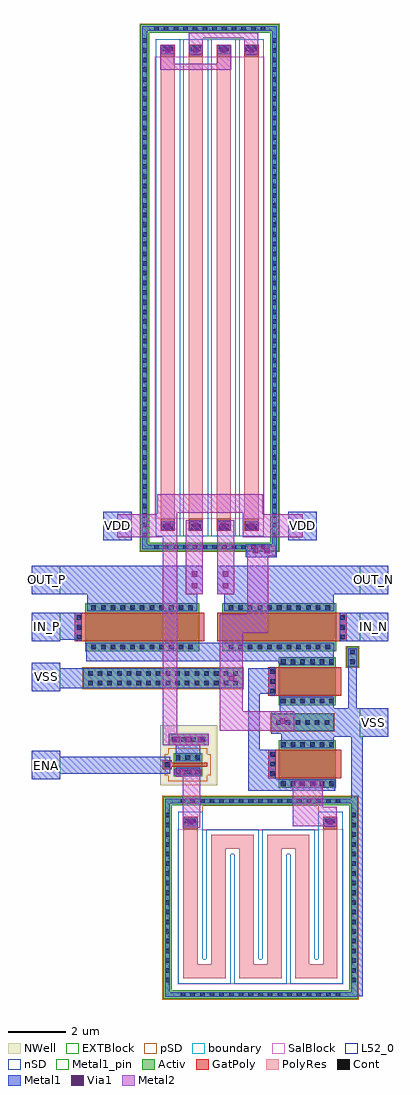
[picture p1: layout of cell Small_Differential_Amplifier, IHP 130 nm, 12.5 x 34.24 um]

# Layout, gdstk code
from math import pi, radians
import gdstk
lib = gdstk.Library(unit=1e-6, precision=1e-09)
def R(c, l, rs):  # rectangles x0, y0, x1, y1
    for r in rs: c.add(gdstk.rectangle(r[:2], r[2:], *l))
def A(c, l, x, y, w, h, nx, ny, dx, dy):  # array of equal rectangles
    R(c, l, [(x+i*dx, y+j*dy, x+i*dx+w, y+j*dy+h) for i in range(nx) for j in range(ny)])
Activ = (1, 0)
GatPoly = (5, 0)
Cont = (6, 0)
nSD = (7, 0)
Metal1 = (8, 0)
Metal1_pin = (8, 2)
Metal2 = (10, 0)
pSD = (14, 0)
Via1 = (19, 0)
SalBlock = (28, 0)
NWell = (31, 0)
L52_0 = (52, 0)
EXTBlock = (111, 0)
PolyRes = (128, 0)
boundary = (189, 4)

rhigh_yxurbg = lib.new_cell('rhigh_YXURBG')
R(rhigh_yxurbg, Activ, [(-3.41,-3.545,3.41,-3.245), (-3.41,-3.245,-3.11,3.245), (3.11,-3.245,3.41,3.245), (-3.41,3.245,3.41,3.545)])
R(rhigh_yxurbg, GatPoly, [(-2.7,-2.835,-2.2,-2.405), (2.2,-2.835,2.7,-2.405)])
A(rhigh_yxurbg, Cont, -2.8, -3.475, 0.16, 0.16, 17, 2, 0.34, 6.79)
A(rhigh_yxurbg, Cont, -3.34, -2.97, 0.16, 0.16, 1, 18, 0, 0.34)
A(rhigh_yxurbg, Cont, 3.18, -2.97, 0.16, 0.16, 1, 18, 0, 0.34)
R(rhigh_yxurbg, Cont, [(-2.63,-2.765,-2.27,-2.605), (2.27,-2.765,2.63,-2.605)])
A(rhigh_yxurbg, nSD, -1.9, -1.525, 0.86, 3.68, 4, 1, 0.98, 0)
A(rhigh_yxurbg, nSD, -2.88, 2.155, 1.84, 0.86, 3, 1, 1.96, 0)
R(rhigh_yxurbg, nSD, [(-2.88,-3.015,-2.02,2.155), (2.02,-3.015,2.88,2.155), (-1.9,-2.385,-0.06,-1.525), (0.06,-2.385,1.9,-1.525)])
R(rhigh_yxurbg, Metal1, [(-3.34,-3.475,3.34,-3.315), (-3.34,-3.315,-3.18,3.315), (3.18,-3.315,3.34,3.315), (-2.68,-2.79,-2.22,-2.5), (2.22,-2.79,2.68,-2.5), (-3.34,3.315,3.34,3.475)])
R(rhigh_yxurbg, Metal2, [(-2.63,-2.83,-2.27,-2.46), (2.27,-2.83,2.63,-2.46)])
R(rhigh_yxurbg, pSD, [(-3.44,-3.575,3.44,-3.215), (-3.44,-3.215,-2.02,-2.385), (2.02,-3.215,3.44,-2.385), (-3.44,-2.385,3.44,3.575)])
R(rhigh_yxurbg, Via1, [(-2.545,-2.74,-2.355,-2.55), (2.355,-2.74,2.545,-2.55)])
R(rhigh_yxurbg, SalBlock, [(-2.9,-2.405,2.9,3.035)])
A(rhigh_yxurbg, L52_0, -1.72, -1.705, 0.5, 4.04, 4, 1, 0.98, 0)
A(rhigh_yxurbg, L52_0, -2.7, 2.335, 1.48, 0.5, 3, 1, 1.96, 0)
R(rhigh_yxurbg, L52_0, [(-2.7,-2.405,-2.2,2.335), (2.2,-2.405,2.7,2.335), (-1.72,-2.205,-0.24,-1.705), (0.24,-2.205,1.72,-1.705)])
R(rhigh_yxurbg, EXTBlock, [(-2.88,-3.015,-2.02,-2.385), (2.02,-3.015,2.88,-2.385), (-2.88,-2.385,2.88,3.015)])
A(rhigh_yxurbg, PolyRes, -1.72, -1.705, 0.5, 4.04, 4, 1, 0.98, 0)
A(rhigh_yxurbg, PolyRes, -2.7, 2.335, 1.48, 0.5, 3, 1, 1.96, 0)
R(rhigh_yxurbg, PolyRes, [(-2.7,-2.405,-2.2,2.335), (2.2,-2.405,2.7,2.335), (-1.72,-2.205,-0.24,-1.705), (0.24,-2.205,1.72,-1.705)])
R(rhigh_yxurbg, boundary, [(-3.26,-3.395,3.26,3.395)])
rhigh_yxurbg.add(gdstk.Label('B', (0,-3.395), layer=8, texttype=25))
rhigh_yxurbg.add(gdstk.Label('R1', (-2.45,-2.685), layer=8, texttype=25))
rhigh_yxurbg.add(gdstk.Label('R2', (2.45,-2.685), layer=8, texttype=25))

sg13_lv_nmos_wvr6vr = lib.new_cell('sg13_lv_nmos_WVR6VR')
R(sg13_lv_nmos_wvr6vr, Activ, [(-0.84,-1.095,0.84,0.905)])
R(sg13_lv_nmos_wvr6vr, GatPoly, [(-0.5,-1.275,0.5,1.275)])
A(sg13_lv_nmos_wvr6vr, Cont, -0.77, -1.025, 0.16, 0.16, 1, 6, 0, 0.34)
A(sg13_lv_nmos_wvr6vr, Cont, 0.61, -1.025, 0.16, 0.16, 1, 6, 0, 0.34)
A(sg13_lv_nmos_wvr6vr, Cont, -0.42, 1.045, 0.16, 0.16, 3, 1, 0.34, 0)
R(sg13_lv_nmos_wvr6vr, Metal1, [(-0.82,-1.025,-0.56,0.835), (0.56,-1.025,0.82,0.835), (-0.48,1.045,0.48,1.205)])
sg13_lv_nmos_wvr6vr.add(gdstk.Label('D', (-0.69,-0.095), layer=8, texttype=25))
sg13_lv_nmos_wvr6vr.add(gdstk.Label('S', (0.69,-0.095), layer=8, texttype=25))
sg13_lv_nmos_wvr6vr.add(gdstk.Label('G', (0,1.125), layer=8, texttype=25))

sg13_lv_nmos_cb58vr = lib.new_cell('sg13_lv_nmos_CB58VR')
R(sg13_lv_nmos_cb58vr, Activ, [(-0.84,-2.095,0.84,1.905)])
R(sg13_lv_nmos_cb58vr, GatPoly, [(-0.5,-2.275,0.5,2.275)])
A(sg13_lv_nmos_cb58vr, Cont, -0.77, -1.875, 0.16, 0.16, 1, 11, 0, 0.34)
A(sg13_lv_nmos_cb58vr, Cont, 0.61, -1.875, 0.16, 0.16, 1, 11, 0, 0.34)
A(sg13_lv_nmos_cb58vr, Cont, -0.42, 2.045, 0.16, 0.16, 3, 1, 0.34, 0)
R(sg13_lv_nmos_cb58vr, Metal1, [(-0.82,-2.025,-0.56,1.835), (0.56,-2.025,0.82,1.835), (-0.48,2.045,0.48,2.205)])
sg13_lv_nmos_cb58vr.add(gdstk.Label('D', (-0.69,-0.095), layer=8, texttype=25))
sg13_lv_nmos_cb58vr.add(gdstk.Label('S', (0.69,-0.095), layer=8, texttype=25))
sg13_lv_nmos_cb58vr.add(gdstk.Label('G', (0,2.125), layer=8, texttype=25))

sg13_lv_nmos_vzxfk7 = lib.new_cell('sg13_lv_nmos_VZXFK7')
R(sg13_lv_nmos_vzxfk7, Activ, [(-0.84,-1.095,0.84,0.905)])
R(sg13_lv_nmos_vzxfk7, GatPoly, [(-0.5,-1.275,0.5,1.275)])
A(sg13_lv_nmos_vzxfk7, Cont, -0.77, -1.025, 0.16, 0.16, 1, 6, 0, 0.34)
A(sg13_lv_nmos_vzxfk7, Cont, 0.61, -1.025, 0.16, 0.16, 1, 6, 0, 0.34)
A(sg13_lv_nmos_vzxfk7, Cont, -0.42, 1.045, 0.16, 0.16, 3, 1, 0.34, 0)
R(sg13_lv_nmos_vzxfk7, Metal1, [(-0.82,-1.025,-0.56,-0.565), (0.56,-1.025,0.82,0.835), (-0.84,-0.565,-0.54,0.375), (-0.82,0.375,-0.56,0.835), (-0.48,1.045,0.48,1.205)])
R(sg13_lv_nmos_vzxfk7, Metal2, [(-0.79,-0.605,-0.59,0.415)])
R(sg13_lv_nmos_vzxfk7, Via1, [(-0.785,-0.395,-0.595,-0.205), (-0.785,0.015,-0.595,0.205)])
sg13_lv_nmos_vzxfk7.add(gdstk.Label('D', (-0.69,-0.095), layer=8, texttype=25))
sg13_lv_nmos_vzxfk7.add(gdstk.Label('S', (0.69,-0.095), layer=8, texttype=25))
sg13_lv_nmos_vzxfk7.add(gdstk.Label('G', (0,1.125), layer=8, texttype=25))

sg13_lv_pmos_lrf4c6 = lib.new_cell('sg13_lv_pmos_LRF4C6')
R(sg13_lv_pmos_lrf4c6, Activ, [(-0.405,-0.595,0.405,0.405)])
R(sg13_lv_pmos_lrf4c6, GatPoly, [(-0.065,-0.775,0.065,0.475), (-0.15,0.475,0.15,0.775)])
A(sg13_lv_pmos_lrf4c6, Cont, -0.335, -0.515, 0.16, 0.16, 1, 3, 0, 0.34)
A(sg13_lv_pmos_lrf4c6, Cont, 0.175, -0.515, 0.16, 0.16, 1, 3, 0, 0.34)
R(sg13_lv_pmos_lrf4c6, Cont, [(-0.08,0.545,0.08,0.705)])
R(sg13_lv_pmos_lrf4c6, Metal1, [(-0.405,-0.525,-0.105,0.335), (0.125,-0.525,0.385,0.335), (-0.13,0.545,0.13,0.705)])
R(sg13_lv_pmos_lrf4c6, Metal2, [(-0.355,-0.565,-0.155,0.375)])
R(sg13_lv_pmos_lrf4c6, pSD, [(-0.365,-0.895,0.365,-0.775), (-0.585,-0.775,0.585,0.585), (-0.365,0.585,0.365,0.705)])
R(sg13_lv_pmos_lrf4c6, Via1, [(-0.35,-0.395,-0.16,-0.205), (-0.35,0.015,-0.16,0.205)])
R(sg13_lv_pmos_lrf4c6, NWell, [(-0.715,-0.905,0.715,0.715)])
sg13_lv_pmos_lrf4c6.add(gdstk.Label('D', (-0.255,-0.095), layer=8, texttype=25))
sg13_lv_pmos_lrf4c6.add(gdstk.Label('S', (0.255,-0.095), layer=8, texttype=25))
sg13_lv_pmos_lrf4c6.add(gdstk.Label('G', (0,0.625), layer=8, texttype=25))

rhigh_8lu6he = lib.new_cell('rhigh_8LU6HE')
R(rhigh_8lu6he, Activ, [(-2.43,-9.24,2.43,-8.94), (-2.43,-8.94,-2.13,8.94), (2.13,-8.94,2.43,8.94), (-2.43,8.94,2.43,9.24)])
A(rhigh_8lu6he, GatPoly, -1.72, -8.53, 0.5, 0.43, 4, 2, 0.98, 16.63)
A(rhigh_8lu6he, Cont, -1.95, -9.17, 0.16, 0.16, 12, 2, 0.34, 18.18)
A(rhigh_8lu6he, Cont, -2.36, -8.75, 0.16, 0.16, 1, 52, 0, 0.34)
A(rhigh_8lu6he, Cont, 2.2, -8.75, 0.16, 0.16, 1, 52, 0, 0.34)
A(rhigh_8lu6he, Cont, -1.65, -8.46, 0.36, 0.16, 4, 2, 0.98, 16.76)
A(rhigh_8lu6he, nSD, -1.9, -8.71, 0.86, 17.42, 4, 1, 0.98, 0)
A(rhigh_8lu6he, Metal1, -1.7, -8.485, 0.46, 0.29, 4, 2, 0.98, 16.68)
R(rhigh_8lu6he, Metal1, [(-2.36,-9.17,2.36,-9.01), (-2.36,-9.01,-2.2,9.01), (2.2,-9.01,2.36,9.01), (-2.36,9.01,2.36,9.17)])
A(rhigh_8lu6he, Metal2, -1.65, -8.525, 0.36, 0.37, 4, 2, 0.98, 16.68)
R(rhigh_8lu6he, pSD, [(-2.46,-9.27,2.46,9.27)])
A(rhigh_8lu6he, Via1, -1.565, -8.435, 0.19, 0.19, 4, 2, 0.98, 16.68)
R(rhigh_8lu6he, SalBlock, [(-1.92,-8.1,1.92,8.1)])
A(rhigh_8lu6he, L52_0, -1.72, -8.1, 0.5, 16.2, 4, 1, 0.98, 0)
R(rhigh_8lu6he, EXTBlock, [(-1.9,-8.71,1.9,8.71)])
A(rhigh_8lu6he, PolyRes, -1.72, -8.1, 0.5, 16.2, 4, 1, 0.98, 0)
R(rhigh_8lu6he, boundary, [(-2.28,-9.09,2.28,9.09)])
rhigh_8lu6he.add(gdstk.Label('B', (0,-9.09), layer=8, texttype=25))
rhigh_8lu6he.add(gdstk.Label('R1_0', (-1.47,8.38), layer=8, texttype=25))
rhigh_8lu6he.add(gdstk.Label('R2_0', (-1.47,-8.38), layer=8, texttype=25))
rhigh_8lu6he.add(gdstk.Label('R1_1', (-0.49,8.38), layer=8, texttype=25))
rhigh_8lu6he.add(gdstk.Label('R2_1', (-0.49,-8.38), layer=8, texttype=25))
rhigh_8lu6he.add(gdstk.Label('R1_2', (0.49,8.38), layer=8, texttype=25))
rhigh_8lu6he.add(gdstk.Label('R2_2', (0.49,-8.38), layer=8, texttype=25))
rhigh_8lu6he.add(gdstk.Label('R1_3', (1.47,8.38), layer=8, texttype=25))
rhigh_8lu6he.add(gdstk.Label('R2_3', (1.47,-8.38), layer=8, texttype=25))

small_differential_ampli = lib.new_cell('Small_Differential_Amplifier')
R(small_differential_ampli, Activ, [(25.3,-12.3,26.7,-11.9), (28.9,-11.8,31.1,-11.2), (22.3,-10.3,27.9,-9.6), (31.55,-9.55,31.95,-8.85)])
A(small_differential_ampli, Cont, 25.41, -12.18, 0.16, 0.16, 4, 1, 0.34, 0)
A(small_differential_ampli, Cont, 29.07, -11.58, 0.16, 0.16, 6, 1, 0.34, 0)
A(small_differential_ampli, Cont, 22.47, -10.2, 0.16, 0.16, 16, 2, 0.34, 0.34)
R(small_differential_ampli, Cont, [(31.67,-9.45,31.83,-9.29), (31.67,-9.11,31.83,-8.95)])
R(small_differential_ampli, Metal1, [(31.7,-21.1,32.1,-12), (28.1,-13.9,31.15,-13.5), (20.5,-13.5,21.5,-13.3), (28.1,-13.5,29.05,-12.45), (20.5,-13.3,25.35,-12.7), (25.55,-12.85,26.4,-12.3), (20.5,-12.7,21.5,-12.5), (28.1,-12.45,28.5,-10.5), (29.25,-12.4,31.1,-12), (25.3,-12.3,26.7,-11.9), (29.25,-12,33,-11.9), (28.9,-11.9,33,-11.1), (29.2,-11.1,33,-11), (29.2,-11,31.1,-10.6), (31.6,-11,31.9,-8.9), (28.1,-10.5,29.05,-9.6), (20.5,-10.4,21.5,-10.3), (20.5,-10.3,27.9,-9.6), (20.5,-9.6,21.5,-9.4), (29.2,-9.5,31.1,-9.4), (29.15,-9.4,31.1,-9.35), (22.4,-9.35,31.1,-8.7), (20.5,-8.65,21.5,-8.6), (31.3,-8.65,33,-7.65), (20.5,-8.6,22.25,-7.65), (22.45,-7.6,26.3,-7), (27.25,-7.6,31.1,-7), (20.5,-7,26.5,-6), (27,-7,33,-6), (28,-5.7,29.1,-5.25), (23,-5.1,24,-4.1), (29.5,-5.1,30.5,-4.1)])
R(small_differential_ampli, Metal1_pin, [(20.5,-13.5,21.5,-12.5), (32,-12,33,-11), (20.5,-10.4,21.5,-9.4), (20.5,-8.65,21.5,-7.65), (32,-8.65,33,-7.65), (20.5,-7,21.5,-6), (32,-7,33,-6), (23,-5.1,24,-4.1), (29.5,-5.1,30.5,-4.1)])
R(small_differential_ampli, Metal2, [(25.8,-15.2,26.4,-13.4), (29.65,-15.15,31.2,-14.45), (29.65,-14.45,30.7,-13.55), (25.55,-13.4,26.4,-13.15), (25.1,-12.3,26.7,-11.9), (25.1,-11.9,25.6,-5), (27.1,-11.8,29.7,-11.1), (27.1,-11.1,27.9,-8.35), (27.1,-8.35,28.8,-7.7), (28.05,-7.7,28.8,-5.65), (25.9,-7,26.5,-4.4), (27,-7,27.6,-4.4), (28.05,-5.65,29.05,-5.3), (23.5,-5,25.6,-4.2), (27.9,-5,30,-4.2), (24.9,-4.2,25.6,-4.15), (27.9,-4.2,28.6,-4.15), (24.9,-4.15,28.6,-3.5), (25,11.4,27.5,11.6), (25,11.6,25.5,12.25), (27,11.6,27.5,12.25), (26,11.95,26.5,12.5), (27.95,11.95,28.45,12.5), (26,12.5,28.45,12.7)])
R(small_differential_ampli, pSD, [(28.87,-11.83,31.13,-11.17), (22.27,-10.33,27.93,-9.57), (31.52,-9.58,31.98,-8.82)])
A(small_differential_ampli, Via1, 25.495, -12.195, 0.19, 0.19, 3, 1, 0.41, 0)
R(small_differential_ampli, Via1, [(29.205,-11.545,29.395,-11.355), (27.405,-10.045,27.595,-9.855), (26.105,-6.8,26.295,-6.61), (27.205,-6.8,27.395,-6.61), (26.105,-6.39,26.295,-6.2), (27.205,-6.39,27.395,-6.2), (28.25,-5.57,28.44,-5.38), (28.66,-5.57,28.85,-5.38), (23.655,-4.695,23.845,-4.505), (29.655,-4.695,29.845,-4.505)])
R(small_differential_ampli, NWell, [(25,-13.7,27,-11.6)])
small_differential_ampli.add(gdstk.Reference(rhigh_yxurbg, (28.52,-17.645), rotation=pi))
small_differential_ampli.add(gdstk.Reference(sg13_lv_nmos_wvr6vr, (30.075,-10.06), rotation=pi/2))
small_differential_ampli.add(gdstk.Reference(sg13_lv_nmos_cb58vr, (29.275,-8.16), rotation=3*pi/2))
small_differential_ampli.add(gdstk.Reference(sg13_lv_nmos_cb58vr, (24.275,-8.16), rotation=pi/2))
small_differential_ampli.add(gdstk.Reference(sg13_lv_nmos_vzxfk7, (30.075,-12.96), rotation=pi/2))
small_differential_ampli.add(gdstk.Reference(sg13_lv_pmos_lrf4c6, (25.875,-12.985), rotation=pi/2))
small_differential_ampli.add(gdstk.Reference(rhigh_8lu6he, (26.74,3.75)))
small_differential_ampli.add(gdstk.Label('OUT_N', (32.5,-6.5), layer=8, texttype=25))
small_differential_ampli.add(gdstk.Label('OUT_P', (21,-6.5), layer=8, texttype=25))
small_differential_ampli.add(gdstk.Label('VDD', (23.5,-4.6), layer=8, texttype=25))
small_differential_ampli.add(gdstk.Label('VDD', (30,-4.6), layer=8, texttype=25))
small_differential_ampli.add(gdstk.Label('VSS', (21,-9.9), layer=8, texttype=25))
small_differential_ampli.add(gdstk.Label('VSS', (32.5,-11.5), layer=8, texttype=25))
small_differential_ampli.add(gdstk.Label('IN_P', (21,-8.15), layer=8, texttype=25))
small_differential_ampli.add(gdstk.Label('IN_N', (32.5,-8.15), layer=8, texttype=25))
small_differential_ampli.add(gdstk.Label('ENA', (21,-13), layer=8, texttype=25))

lib.write_gds('Small_Differential_Amplifier.gds')
